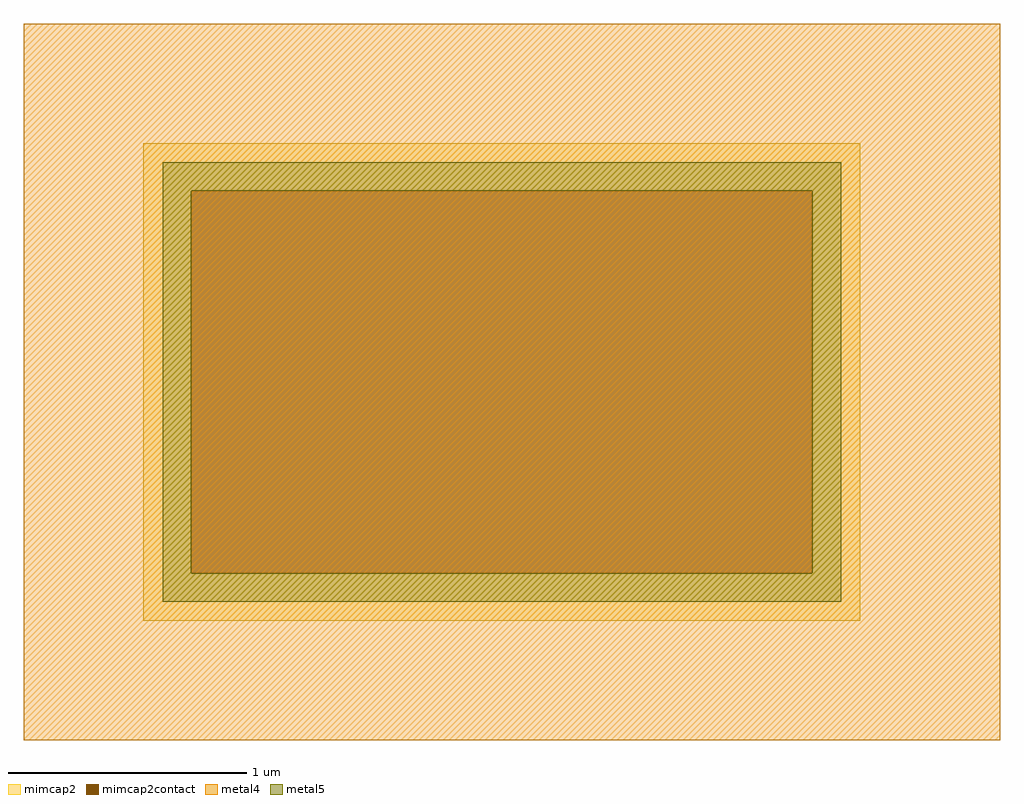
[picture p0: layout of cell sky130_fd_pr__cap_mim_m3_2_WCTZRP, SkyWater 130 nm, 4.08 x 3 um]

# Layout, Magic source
magic
tech sky130A
magscale 1 2
<< metal4 >>
rect -651 -300 166 300
<< mimcap2 >>
rect -551 160 49 200
rect -551 -160 -511 160
rect 9 -160 49 160
rect -551 -200 49 -160
<< mimcap2contact >>
rect -511 -160 9 160
<< metal5 >>
rect -535 160 33 184
rect -535 -160 -511 160
rect 9 -160 33 160
rect -535 -184 33 -160
<< properties >>
string FIXED_BBOX -651 -300 149 300
string gencell sky130_fd_pr__cap_mim_m3_2
string library sky130
string parameters w 3.0 l 2.0 val 13.9 carea 2.00 cperi 0.19 nx 1 ny 1 dummy 0 square 0 lmin 2.00 wmin 2.00 lmax 30.0 wmax 30.0 dc 0 bconnect 1 tconnect 1 ccov 100
<< end >>
